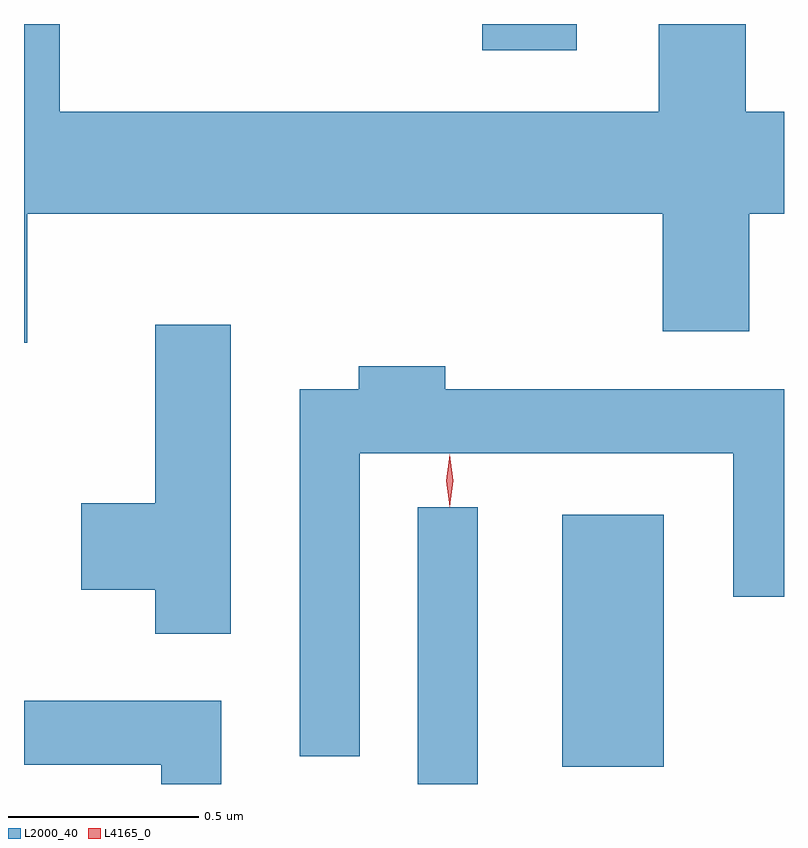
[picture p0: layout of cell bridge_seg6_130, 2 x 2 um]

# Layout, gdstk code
import gdstk
lib = gdstk.Library(unit=1e-6, precision=1e-09)
def R(c, l, rs):  # rectangles x0, y0, x1, y1
    for r in rs: c.add(gdstk.rectangle(r[:2], r[2:], *l))
def P(c, l, *ps):  # polygons
    for p in ps: c.add(gdstk.Polygon(p, *l))
L2000_40 = (2000, 40)
L4165_0 = (4165, 0)

bridge_seg6_130 = lib.new_cell('bridge_seg6_130')
R(bridge_seg6_130, L2000_40, [(1167.256,1621.795,1167.414,1622.523), (1167.636,1621.841,1167.904,1622.504), (1167.426,1623.726,1167.674,1623.795)])
P(bridge_seg6_130, L2000_40, [(1166.229,1623.296),(1167.901,1623.296),(1167.901,1622.986),(1168.129,1622.986),(1168.129,1623.296),(1168.22,1623.296),(1168.22,1623.564),(1168.119,1623.564),(1168.119,1623.795),(1167.891,1623.795),(1167.891,1623.564),(1166.314,1623.564),(1166.314,1623.795),(1166.22,1623.795),(1166.22,1622.956),(1166.229,1622.956)],
  [(1166.764,1623.004),(1166.566,1623.004),(1166.566,1622.534),(1166.371,1622.534),(1166.371,1622.306),(1166.566,1622.306),(1166.566,1622.191),(1166.764,1622.191)],
  [(1167.104,1622.666),(1168.086,1622.666),(1168.086,1622.288),(1168.22,1622.288),(1168.22,1622.834),(1167.329,1622.834),(1167.329,1622.894),(1167.101,1622.894),(1167.101,1622.834),(1166.946,1622.834),(1166.946,1621.868),(1167.104,1621.868)],
  [(1166.739,1622.014),(1166.22,1622.014),(1166.22,1621.846),(1166.581,1621.846),(1166.581,1621.795),(1166.739,1621.795)])
P(bridge_seg6_130, L4165_0, [(1167.34,1622.523),(1167.34,1622.524),(1167.331,1622.593),(1167.34,1622.662),(1167.341,1622.663),(1167.341,1622.662),(1167.35,1622.593),(1167.341,1622.524)])

lib.write_gds('bridge_seg6_130.gds')
